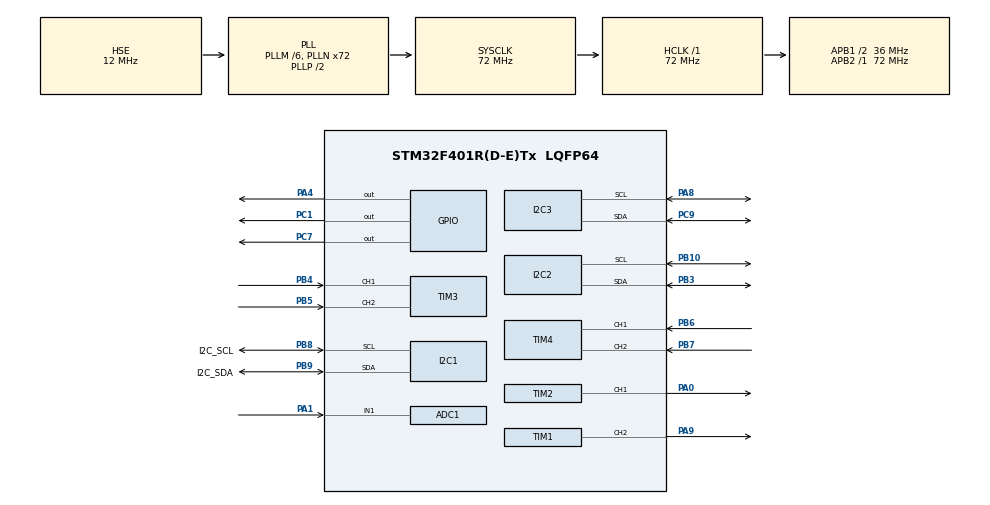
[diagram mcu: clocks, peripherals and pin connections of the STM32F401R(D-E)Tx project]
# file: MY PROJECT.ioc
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ADC1.Channel-1\#ChannelRegularConversion=ADC_CHANNEL_1
ADC1.NbrOfConversionFlag=1
ADC1.Rank-1\#ChannelRegularConversion=1
ADC1.SamplingTime-1\#ChannelRegularConversion=ADC_SAMPLETIME_3CYCLES
ADC1.master=1
I2C1.I2C_Mode=I2C_Fast
Mcu.Family=STM32F4
Mcu.Name=STM32F401R(D-E)Tx
Mcu.Package=LQFP64
NVIC.I2C1_EV_IRQn=true\:0\:0\:false\:false\:true\:true\:true
NVIC.PriorityGroup=NVIC_PRIORITYGROUP_0
PA0-WKUP.GPIO_Speed=GPIO_SPEED_FREQ_HIGH
PA0-WKUP.Signal=S_TIM2_CH1_ETR
PA1.Signal=ADCx_IN1
PA13.GPIO_Label=TMS
PA13.Mode=Serial_Wire
PA13.Signal=SYS_JTMS-SWDIO
PA14.GPIO_Label=TCK
PA14.Mode=Serial_Wire
PA14.Signal=SYS_JTCK-SWCLK
PA4.Signal=GPIO_Output
PA8.Mode=I2C
PA8.Signal=I2C3_SCL
PA9.GPIO_ModeDefaultPP=GPIO_MODE_AF_PP
PA9.GPIO_PuPd=GPIO_PULLUP
PA9.GPIO_Speed=GPIO_SPEED_FREQ_HIGH
PA9.Signal=S_TIM1_CH2
PB10.GPIO_Speed=GPIO_SPEED_FREQ_HIGH
PB10.Mode=I2C
PB10.Signal=I2C2_SCL
PB3.GPIO_Speed=GPIO_SPEED_FREQ_HIGH
PB3.Mode=I2C
PB3.Signal=I2C2_SDA
PB4.Signal=S_TIM3_CH1
PB5.Signal=S_TIM3_CH2
PB6.Signal=S_TIM4_CH1
PB7.Signal=S_TIM4_CH2
PB8.GPIO_Label=I2C_SCL
PB8.GPIO_Speed=GPIO_SPEED_FREQ_HIGH
PB8.Mode=I2C
PB8.Signal=I2C1_SCL
PB9.GPIO_Label=I2C_SDA
PB9.GPIO_PuPdOD=GPIO_PULLUP
PB9.GPIO_Speed=GPIO_SPEED_FREQ_HIGH
PB9.Mode=I2C
PB9.Signal=I2C1_SDA
PC1.Signal=GPIO_Output
PC14-OSC32_IN.Mode=LSE-External-Oscillator
PC14-OSC32_IN.Signal=RCC_OSC32_IN
PC15-OSC32_OUT.Mode=LSE-External-Oscillator
PC15-OSC32_OUT.Signal=RCC_OSC32_OUT
PC7.GPIO_ModeDefaultOutputPP=GPIO_MODE_OUTPUT_PP
PC7.GPIO_PuPd=GPIO_NOPULL
PC7.Signal=GPIO_Output
PC9.Mode=I2C
PC9.Signal=I2C3_SDA
PH0\ -\ OSC_IN.Mode=HSE-External-Oscillator
PH0\ -\ OSC_IN.Signal=RCC_OSC_IN
PH1\ -\ OSC_OUT.Mode=HSE-External-Oscillator
PH1\ -\ OSC_OUT.Signal=RCC_OSC_OUT
ProjectManager.HeapSize=0x200
ProjectManager.StackSize=0x400
ProjectManager.TargetToolchain=MDK-ARM V5
RCC.48MHZClocksFreq_Value=20571428.57142857
RCC.AHBFreq_Value=72000000
RCC.APB1CLKDivider=RCC_HCLK_DIV2
RCC.APB1Freq_Value=36000000
RCC.APB1TimFreq_Value=72000000
RCC.APB2Freq_Value=72000000
RCC.APB2TimFreq_Value=72000000
RCC.CortexFreq_Value=72000000
RCC.HCLKFreq_Value=72000000
RCC.HSE_VALUE=12000000
RCC.HSI_VALUE=16000000
RCC.PLLM=6
RCC.PLLN=72
RCC.PLLQ=7
RCC.PLLSourceVirtual=RCC_PLLSOURCE_HSE
RCC.SYSCLKFreq_VALUE=72000000
RCC.SYSCLKSource=RCC_SYSCLKSOURCE_PLLCLK
RCC.VCOOutputFreq_Value=144000000
SH.ADCx_IN1.0=ADC1_IN1,IN1
SH.S_TIM1_CH2.0=TIM1_CH2,PWM Generation2 CH2
SH.S_TIM2_CH1_ETR.0=TIM2_CH1,PWM Generation1 CH1
SH.S_TIM3_CH1.0=TIM3_CH1,Encoder_Interface
SH.S_TIM3_CH2.0=TIM3_CH2,Encoder_Interface
SH.S_TIM4_CH1.0=TIM4_CH1,Encoder_Interface
SH.S_TIM4_CH2.0=TIM4_CH2,Encoder_Interface
TIM1.AutoReloadPreload=TIM_AUTORELOAD_PRELOAD_ENABLE
TIM1.AutomaticOutput=TIM_AUTOMATICOUTPUT_DISABLE
TIM1.BreakState=TIM_BREAK_ENABLE
TIM1.Channel-PWM\ Generation2\ CH2=TIM_CHANNEL_2
TIM1.LockLevel=TIM_LOCKLEVEL_OFF
TIM1.OC2Preload_PWM=ENABLE
TIM1.OCIdleState_2=TIM_OCIDLESTATE_RESET
TIM1.OCMode_PWM-PWM\ Generation2\ CH2=TIM_OCMODE_PWM1
TIM1.OffStateIDLEMode=TIM_OSSI_DISABLE
TIM1.OffStateRunMode=TIM_OSSR_DISABLE
TIM1.Period=999
TIM1.Prescaler=31
TIM1.TIM_MasterOutputTrigger=TIM_TRGO_RESET
TIM1.TIM_MasterSlaveMode=TIM_MASTERSLAVEMODE_DISABLE
TIM2.AutoReloadPreload=TIM_AUTORELOAD_PRELOAD_ENABLE
TIM2.Channel-PWM\ Generation1\ CH1=TIM_CHANNEL_1
TIM2.Period=999
TIM2.Prescaler=31
VP_TIM1_VS_ClockSourceINT.Mode=Internal
VP_TIM2_VS_ClockSourceINT.Mode=Internal
board=NUCLEO-F401RE

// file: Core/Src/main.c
/* USER CODE BEGIN Header */
/**
  ******************************************************************************
  * @file           : main.c
  * @brief          : Main program body
  ******************************************************************************
  * @attention
  *
  * <h2><center>&copy; Copyright (c) 2025 STMicroelectronics.
  * All rights reserved.</center></h2>
  *
  * This software component is licensed by ST under BSD 3-Clause license,
  * the "License"; You may not use this file except in compliance with the
  * License. You may obtain a copy of the License at:
  *                        opensource.org/licenses/BSD-3-Clause
  *
  ******************************************************************************
  */
/* USER CODE END Header */
#include "main.h"
#include "adc.h"
#include "i2c.h"
#include "tim.h"
#include "gpio.h"

/* USER CODE BEGIN Includes */
#include "OLED.h"
#include "OLED_Data.h"
#include "GY906.h"
#include "mpu6050.h"
#include "PWM Driver.h"
/* USER CODE END Includes */

/* USER CODE BEGIN PD */
#define ADC_MAX_VALUE           4095  // 12位ADC最大值
#define VOLTAGE_REF             3.3f  // 参考电压(V)
#define UPDATE_INTERVAL_MS      50    // OLED更新间隔(ms)
/* 迟滞控制参数（必须放在此处，确保被其他代码引用）*/
#define HYSTERESIS_WIDTH 2.0f    // 迟滞宽度（cm），距离变化超过此值才切换模式
#define CENTER_DISTANCE 25.0f    // 目标中心距离（cm）
#define MIN_DISTANCE (CENTER_DISTANCE - HYSTERESIS_WIDTH/2)  // 最小阈值
#define MAX_DISTANCE (CENTER_DISTANCE + HYSTERESIS_WIDTH/2)  // 最大阈值
#define FILTER_FACTOR 0.7f       // 滤波系数（0.0~1.0，越大滤波效果越强）
#define HEAT_THRESHOLD 30.0f     // 热度阈值，当温度超过此值时停止
/* USER CODE END PD */

/* USER CODE BEGIN PV */
uint16_t adcValue = 0;      // 存储ADC采样值
float voltage = 0.0;
float distance = 0.0;
float filtered_distance = 0.0f;  // 滤波后的距离值
int current_mode = 0;            // 当前模式：0=初始化，1=偏左，2=偏右
float temperature = 0.0;         // 存储温度值
int heat_detected = 0;      // 热源检测标志
/* USER CODE END PV */

void SystemClock_Config(void);
/* USER CODE BEGIN PFP */
void DisplayTemperatureOnOLED(void);

/* USER CODE END PFP */

int main(void)
{

  /* MCU Configuration--------------------------------------------------------*/

  /* Reset of all peripherals, Initializes the Flash interface and the Systick. */
  HAL_Init();

  /* Configure the system clock */
  SystemClock_Config();

  /* Initialize all configured peripherals */
  MX_GPIO_Init();
  MX_I2C1_Init();
  MX_ADC1_Init();
  MX_I2C2_Init();
  MX_I2C3_Init();
  MX_TIM3_Init();
  MX_TIM4_Init();
  MX_TIM1_Init();
  MX_TIM2_Init();
  /* USER CODE BEGIN 2 */
  OLED_Init();
	OLED_Clear();
  SMBus_Init();
	uint16_t adcValue = 0;        // ADC值

	// 启动PWM输出
  HAL_TIM_PWM_Start(&htim1, TIM_CHANNEL_2);  // 启动TIM1_CH2（电机2 PWM）
  HAL_TIM_PWM_Start(&htim2, TIM_CHANNEL_1);  // 启动TIM2_CH1（电机1 PWM）

  // 设置两个电机均为正转（根据实际接线调整）
  Motor_SetDirection(1, MOTOR_FORWARD);
  Motor_SetDirection(2, MOTOR_FORWARD);

  // 设置两个电机为相同速度（50%占空比，可调整0-1000）
  Motor_SetSpeed(1, 0);
  Motor_SetSpeed(2, 0);
  /* USER CODE END 2 */

  /* Infinite loop */
  /* USER CODE BEGIN WHILE */
	HAL_GPIO_WritePin(GPIOC, GPIO_PIN_7, GPIO_PIN_SET);  // PC7输出高电平防止误报
  while (1)
  {
    /* USER CODE END WHILE */

    /* USER CODE BEGIN 3 */

//		    DisplayTemperatureOnOLED();
//				OLED_Update();
//        HAL_Delay(500); // 每秒更新一次显示
// 定时更新OLED显示

		// 读取温度值
    temperature = SMBus_ReadTemp();

    // 检测热源，0.0可以改成想要监测的热源温度
    if (temperature > 0.0) {
        heat_detected = 1;  // 用1代替true
        HAL_GPIO_WritePin(GPIOC, GPIO_PIN_7, GPIO_PIN_RESET);  // 蜂鸣器报警
        Motor_SetSpeed(1, 700);
        Motor_SetSpeed(2, 700);  // 两轮以相同速度开向热源方向
    }

    // 热度达到一定程度时停止
    if (heat_detected && temperature > HEAT_THRESHOLD) {
        Motor_SetSpeed(1, 0);
        Motor_SetSpeed(2, 0);  // 停止电机
    }

		if (!heat_detected)
			{
        // 循墙模式
		// 启动ADC转换（单次模式下每次都需要启动）
    HAL_ADC_Start(&hadc1);

    // 等待转换完成，并检查返回值
    if (HAL_ADC_PollForConversion(&hadc1, 100) == HAL_OK) {
        // 转换成功完成，读取ADC值
        adcValue = HAL_ADC_GetValue(&hadc1);

        // 计算电压
        voltage = (float)adcValue * 3.3f / 4095.0f;

        // 显示ADC和电压
//        OLED_ClearArea(0, 16, 128, 16);
//        OLED_Printf(0, 16, OLED_8X16, "ADC:%4d  Volt:%.2fV", adcValue, voltage);

        // 计算距离
        if (voltage > 0.4f) {
            distance = 18.29f / (voltage - 0.1714f);
        } else {
            distance = 80.0f;
        }
        distance = fmaxf(10.0f, fminf(distance, 80.0f));

        // 显示距离
        OLED_ClearArea(0, 32, 128, 16);
        OLED_Printf(0, 32, OLED_8X16, "Dist:%.1fcm", distance);

// 计算滤波后的距离值
if (filtered_distance == 0.0f) {
    filtered_distance = distance;  // 首次初始化
} else {
    filtered_distance = FILTER_FACTOR * filtered_distance + (1.0f - FILTER_FACTOR) * distance;
}

// 迟滞控制逻辑
if (filtered_distance < MIN_DISTANCE) {
    current_mode = 1;  // 偏左模式
} else if (filtered_distance > MAX_DISTANCE) {
    current_mode = 2;  // 偏右模式
}
// 注意：当距离在13-17cm之间时，保持当前模式不变

// 根据当前模式设置电机速度
if (current_mode == 1) {
    Motor_SetSpeed(1, 400);  // 增大速度差，增强转向效果
    Motor_SetSpeed(2, 700);
//    OLED_Printf(0, 48, OLED_8X16, "Mode: Left Turn ");
} else {
    Motor_SetSpeed(1, 700);
    Motor_SetSpeed(2, 400);  // 增大速度差，增强转向效果
//    OLED_Printf(0, 48, OLED_8X16, "Mode: Right Turn");
}

        OLED_Update();  // 刷新屏幕
    } else {
        // 转换超时或出错，处理错误情况
        OLED_ClearArea(0, 16, 128, 16);
        OLED_Printf(0, 16, OLED_8X16, "ADC Error!       ");
        OLED_Update();
    }
	     }

    //
       }
  /* USER CODE END 3 */
}

void SystemClock_Config(void)
{
  RCC_OscInitTypeDef RCC_OscInitStruct = {0};
  RCC_ClkInitTypeDef RCC_ClkInitStruct = {0};

  /** Configure the main internal regulator output voltage
  */
  __HAL_RCC_PWR_CLK_ENABLE();
  __HAL_PWR_VOLTAGESCALING_CONFIG(PWR_REGULATOR_VOLTAGE_SCALE2);
  /** Initializes the RCC Oscillators according to the specified parameters
  * in the RCC_OscInitTypeDef structure.
  */
  RCC_OscInitStruct.OscillatorType = RCC_OSCILLATORTYPE_HSE;
  RCC_OscInitStruct.HSEState = RCC_HSE_ON;
  RCC_OscInitStruct.PLL.PLLState = RCC_PLL_ON;
  RCC_OscInitStruct.PLL.PLLSource = RCC_PLLSOURCE_HSE;
  RCC_OscInitStruct.PLL.PLLM = 6;
  RCC_OscInitStruct.PLL.PLLN = 72;
  RCC_OscInitStruct.PLL.PLLP = RCC_PLLP_DIV2;
  RCC_OscInitStruct.PLL.PLLQ = 7;
  if (HAL_RCC_OscConfig(&RCC_OscInitStruct) != HAL_OK)
  {
    Error_Handler();
  }
  /** Initializes the CPU, AHB and APB buses clocks
  */
  RCC_ClkInitStruct.ClockType = RCC_CLOCKTYPE_HCLK|RCC_CLOCKTYPE_SYSCLK
                              |RCC_CLOCKTYPE_PCLK1|RCC_CLOCKTYPE_PCLK2;
  RCC_ClkInitStruct.SYSCLKSource = RCC_SYSCLKSOURCE_PLLCLK;
  RCC_ClkInitStruct.AHBCLKDivider = RCC_SYSCLK_DIV1;
  RCC_ClkInitStruct.APB1CLKDivider = RCC_HCLK_DIV2;
  RCC_ClkInitStruct.APB2CLKDivider = RCC_HCLK_DIV1;

  if (HAL_RCC_ClockConfig(&RCC_ClkInitStruct, FLASH_LATENCY_2) != HAL_OK)
  {
    Error_Handler();
  }
}

/* USER CODE BEGIN 4 */
// 显示温度的函数
void DisplayTemperatureOnOLED(void)
{
    uint16_t rawData;      // 存储原始16位数据
    char temp_str[20];

    // 初始化OLED和GY906传感器

    // 添加必要的延时，确保传感器初始化完成
    HAL_Delay(100);

    // 读取原始数据
    rawData = SMBus_ReadMemory(0x00, 0x00|0x07);

    // 检查通信是否失败（假设失败时返回0xFFFF）
    if (rawData == 0xFFFF) {
        sprintf(temp_str, "Temp: Error");
    } else {
        // 显示原始16位数据（十六进制格式）
        sprintf(temp_str, "Raw: 0x%04X", rawData);
    }

    // 在OLED上显示字符串
    OLED_ShowString(0, 0, temp_str, OLED_8X16);

    // 更新OLED显示
    OLED_Update();
}
/* USER CODE END 4 */

void Error_Handler(void)
{
}

/************************ (C) COPYRIGHT STMicroelectronics *****END OF FILE****/
